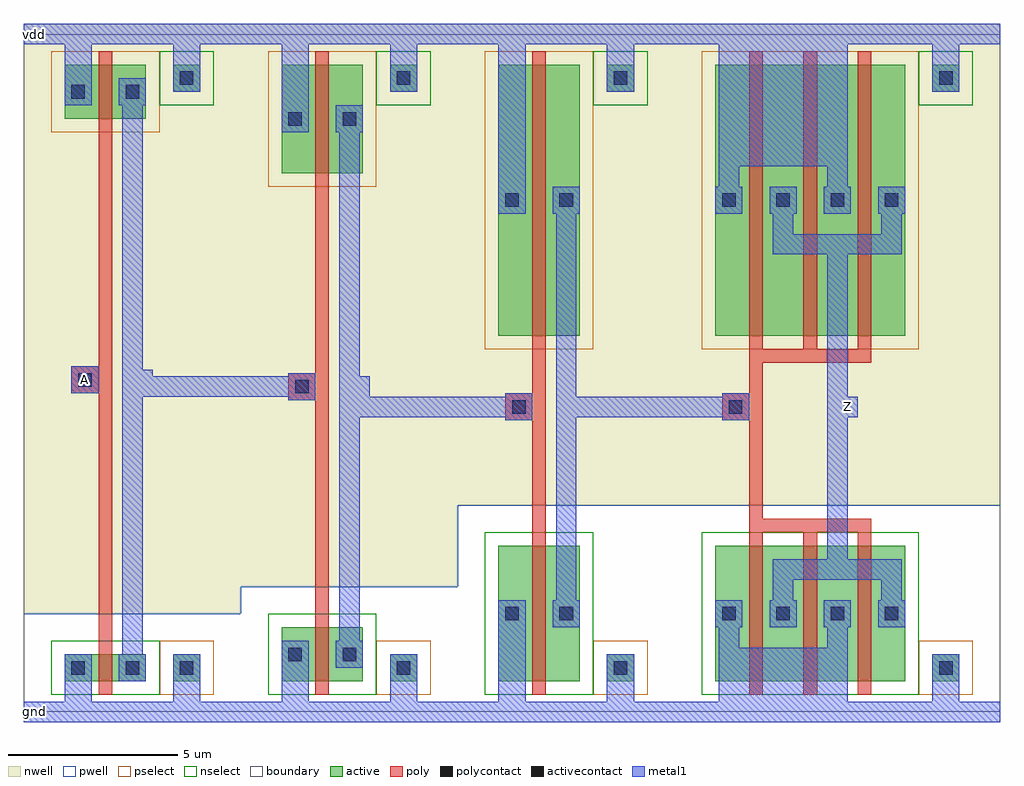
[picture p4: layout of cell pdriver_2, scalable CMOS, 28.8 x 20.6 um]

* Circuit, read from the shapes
.subckt pdriver_2 A Z gnd vdd
M1 pinv_3_1/A A gnd gnd nfet w=0.8u l=0.4u
M2 pinv_6_2/A pinv_3_1/A gnd gnd nfet w=1.6u l=0.4u
M3 pinv_7_3/A pinv_6_2/A gnd gnd nfet w=4u l=0.4u
M4 Z pinv_7_3/A gnd gnd nfet w=4u l=0.4u m=3
M5 pinv_3_1/A A vdd vdd pfet w=1.6u l=0.4u
M6 pinv_6_2/A pinv_3_1/A vdd vdd pfet w=3.2u l=0.4u
M7 pinv_7_3/A pinv_6_2/A vdd vdd pfet w=8u l=0.4u
M8 Z pinv_7_3/A vdd vdd pfet w=8u l=0.4u m=3
.ends

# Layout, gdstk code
import gdstk
lib = gdstk.Library(unit=1e-6, precision=1e-09)
def R(c, l, rs):  # rectangles x0, y0, x1, y1
    for r in rs: c.add(gdstk.rectangle(r[:2], r[2:], *l))
def A(c, l, x, y, w, h, nx, ny, dx, dy):  # array of equal rectangles
    R(c, l, [(x+i*dx, y+j*dy, x+i*dx+w, y+j*dy+h) for i in range(nx) for j in range(ny)])
pwell = (41, 0)
nwell = (42, 0)
active = (43, 0)
pselect = (44, 0)
nselect = (45, 0)
poly = (46, 0)
polycontact = (47, 0)
activecontact = (48, 0)
metal1 = (49, 0)
boundary = (63, 0)

contact_9 = lib.new_cell('contact_9')
R(contact_9, nwell, [(-1.2,-1.2,2,2)])
R(contact_9, active, [(0,0,0.8,0.8)])
R(contact_9, pselect, [(-0.4,-0.4,1.2,1.2)])
R(contact_9, activecontact, [(0.2,0.2,0.6,0.6)])
R(contact_9, metal1, [(0,0,0.8,0.8)])

pmos_m1_w1_600_a_p = lib.new_cell('pmos_m1_w1_600_a_p')
R(pmos_m1_w1_600_a_p, nwell, [(-1.2,-1.2,3.6,2.8)])
R(pmos_m1_w1_600_a_p, active, [(0,0,2.4,1.6)])
R(pmos_m1_w1_600_a_p, pselect, [(-0.4,-0.4,2.8,2)])
R(pmos_m1_w1_600_a_p, poly, [(1,-0.4,1.4,2), (1,-0.4,1.4,2)])
R(pmos_m1_w1_600_a_p, metal1, [(0,0.4,0.8,1.2), (1.6,0.4,2.4,1.2)])
pmos_m1_w1_600_a_p.add(gdstk.Reference(contact_9, (0,0.4)))
pmos_m1_w1_600_a_p.add(gdstk.Reference(contact_9, (1.6,0.4)))
pmos_m1_w1_600_a_p.add(gdstk.Label('G', (1.2,0.8), layer=46, texttype=0))
pmos_m1_w1_600_a_p.add(gdstk.Label('S', (0.4,0.8), layer=49, texttype=0))
pmos_m1_w1_600_a_p.add(gdstk.Label('D', (2,0.8), layer=49, texttype=0))

contact_14 = lib.new_cell('contact_14')
R(contact_14, pwell, [(-1.2,-1.2,2,2)])
R(contact_14, active, [(0,0,0.8,0.8)])
R(contact_14, nselect, [(-0.4,-0.4,1.2,1.2)])
R(contact_14, activecontact, [(0.2,0.2,0.6,0.6)])
R(contact_14, metal1, [(0,0,0.8,0.8)])

nmos_m1_w0_800_a_p = lib.new_cell('nmos_m1_w0_800_a_p')
R(nmos_m1_w0_800_a_p, pwell, [(-1.2,-1.2,3.6,2)])
R(nmos_m1_w0_800_a_p, active, [(0,0,2.4,0.8)])
R(nmos_m1_w0_800_a_p, nselect, [(-0.4,-0.4,2.8,1.2)])
R(nmos_m1_w0_800_a_p, poly, [(1,-0.4,1.4,1.2), (1,-0.4,1.4,1.2)])
R(nmos_m1_w0_800_a_p, metal1, [(0,0,0.8,0.8), (1.6,0,2.4,0.8)])
nmos_m1_w0_800_a_p.add(gdstk.Reference(contact_14, (0,0)))
nmos_m1_w0_800_a_p.add(gdstk.Reference(contact_14, (1.6,0)))
nmos_m1_w0_800_a_p.add(gdstk.Label('G', (1.2,0.4), layer=46, texttype=0))
nmos_m1_w0_800_a_p.add(gdstk.Label('S', (0.4,0.4), layer=49, texttype=0))
nmos_m1_w0_800_a_p.add(gdstk.Label('D', (2,0.4), layer=49, texttype=0))

contact_15 = lib.new_cell('contact_15')
R(contact_15, nwell, [(-1.2,-1.2,2,2)])
R(contact_15, active, [(0,0,0.8,0.8)])
R(contact_15, nselect, [(-0.4,-0.4,1.2,1.2)])
R(contact_15, activecontact, [(0.2,0.2,0.6,0.6)])
R(contact_15, metal1, [(0,0,0.8,0.8)])

contact_16 = lib.new_cell('contact_16')
R(contact_16, pwell, [(-1.2,-1.2,2,2)])
R(contact_16, active, [(0,0,0.8,0.8)])
R(contact_16, pselect, [(-0.4,-0.4,1.2,1.2)])
R(contact_16, activecontact, [(0.2,0.2,0.6,0.6)])
R(contact_16, metal1, [(0,0,0.8,0.8)])

contact_10 = lib.new_cell('contact_10')
R(contact_10, poly, [(0,0,0.8,0.8)])
R(contact_10, polycontact, [(0.2,0.2,0.6,0.6)])
R(contact_10, metal1, [(0,0,0.8,0.8)])

pinv_5 = lib.new_cell('pinv_5')
R(pinv_5, pwell, [(0,-0.3,6.4,2.9)])
R(pinv_5, nwell, [(0,2.9,6.4,20.3)])
R(pinv_5, poly, [(2.2,0.5,2.6,17.1), (1.8,9.4,2.2,10.2)])
R(pinv_5, metal1, [(0,-0.3,6.4,0.3), (1.2,-0.3,2,0.9), (4.4,0,5.2,1.3), (2.9,0.9,3.5,18.7), (1.4,9.4,2.2,10.2), (3.2,9.5,3.8,10.1), (1.2,17.9,2,20.3), (4.4,18.7,5.2,20), (0,19.7,6.4,20.3)])
R(pinv_5, boundary, [(0,0,6.4,20)])
pinv_5.add(gdstk.Reference(pmos_m1_w1_600_a_p, (1.2,17.5)))
pinv_5.add(gdstk.Reference(nmos_m1_w0_800_a_p, (1.2,0.9)))
pinv_5.add(gdstk.Reference(contact_15, (4.4,18.3)))
pinv_5.add(gdstk.Reference(contact_16, (4.4,0.9)))
pinv_5.add(gdstk.Reference(contact_10, (1.4,9.4)))
pinv_5.add(gdstk.Label('gnd', (3.2,0), layer=49, texttype=0))
pinv_5.add(gdstk.Label('vdd', (3.2,20), layer=49, texttype=0))
pinv_5.add(gdstk.Label('A', (1.8,9.8), layer=49, texttype=0))
pinv_5.add(gdstk.Label('Z', (3.5,9.8), layer=49, texttype=0))

pmos_m1_w3_200_a_p = lib.new_cell('pmos_m1_w3_200_a_p')
R(pmos_m1_w3_200_a_p, nwell, [(-1.2,-1.2,3.6,4.4)])
R(pmos_m1_w3_200_a_p, active, [(0,0,2.4,3.2)])
R(pmos_m1_w3_200_a_p, pselect, [(-0.4,-0.4,2.8,3.6)])
R(pmos_m1_w3_200_a_p, poly, [(1,-0.4,1.4,3.6), (1,-0.4,1.4,3.6)])
R(pmos_m1_w3_200_a_p, metal1, [(0,1.2,0.8,2), (1.6,1.2,2.4,2)])
pmos_m1_w3_200_a_p.add(gdstk.Reference(contact_9, (0,1.2)))
pmos_m1_w3_200_a_p.add(gdstk.Reference(contact_9, (1.6,1.2)))
pmos_m1_w3_200_a_p.add(gdstk.Label('G', (1.2,1.6), layer=46, texttype=0))
pmos_m1_w3_200_a_p.add(gdstk.Label('S', (0.4,1.6), layer=49, texttype=0))
pmos_m1_w3_200_a_p.add(gdstk.Label('D', (2,1.6), layer=49, texttype=0))

nmos_m1_w1_600_a_p = lib.new_cell('nmos_m1_w1_600_a_p')
R(nmos_m1_w1_600_a_p, pwell, [(-1.2,-1.2,3.6,2.8)])
R(nmos_m1_w1_600_a_p, active, [(0,0,2.4,1.6)])
R(nmos_m1_w1_600_a_p, nselect, [(-0.4,-0.4,2.8,2)])
R(nmos_m1_w1_600_a_p, poly, [(1,-0.4,1.4,2), (1,-0.4,1.4,2)])
R(nmos_m1_w1_600_a_p, metal1, [(0,0.4,0.8,1.2), (1.6,0.4,2.4,1.2)])
nmos_m1_w1_600_a_p.add(gdstk.Reference(contact_14, (0,0.4)))
nmos_m1_w1_600_a_p.add(gdstk.Reference(contact_14, (1.6,0.4)))
nmos_m1_w1_600_a_p.add(gdstk.Label('G', (1.2,0.8), layer=46, texttype=0))
nmos_m1_w1_600_a_p.add(gdstk.Label('S', (0.4,0.8), layer=49, texttype=0))
nmos_m1_w1_600_a_p.add(gdstk.Label('D', (2,0.8), layer=49, texttype=0))

pinv_3 = lib.new_cell('pinv_3')
R(pinv_3, pwell, [(0,-0.3,6.4,3.7)])
R(pinv_3, nwell, [(0,3.7,6.4,20.3)])
R(pinv_3, poly, [(2.2,0.5,2.6,15.5), (1.8,9.2,2.2,10)])
R(pinv_3, metal1, [(0,-0.3,6.4,0.3), (1.2,-0.3,2,1.3), (4.4,0,5.2,1.3), (2.9,1.3,3.5,17.9), (1.4,9.2,2.2,10), (3.2,9.3,3.8,9.9), (1.2,17.1,2,20.3), (4.4,18.7,5.2,20), (0,19.7,6.4,20.3)])
R(pinv_3, boundary, [(0,0,6.4,20)])
pinv_3.add(gdstk.Reference(pmos_m1_w3_200_a_p, (1.2,15.9)))
pinv_3.add(gdstk.Reference(nmos_m1_w1_600_a_p, (1.2,0.9)))
pinv_3.add(gdstk.Reference(contact_15, (4.4,18.3)))
pinv_3.add(gdstk.Reference(contact_16, (4.4,0.9)))
pinv_3.add(gdstk.Reference(contact_10, (1.4,9.2)))
pinv_3.add(gdstk.Label('gnd', (3.2,0), layer=49, texttype=0))
pinv_3.add(gdstk.Label('vdd', (3.2,20), layer=49, texttype=0))
pinv_3.add(gdstk.Label('A', (1.8,9.6), layer=49, texttype=0))
pinv_3.add(gdstk.Label('Z', (3.5,9.6), layer=49, texttype=0))

pmos_m1_w8_000_a_p = lib.new_cell('pmos_m1_w8_000_a_p')
R(pmos_m1_w8_000_a_p, nwell, [(-1.2,-1.2,3.6,9.2)])
R(pmos_m1_w8_000_a_p, active, [(0,0,2.4,8)])
R(pmos_m1_w8_000_a_p, pselect, [(-0.4,-0.4,2.8,8.4)])
R(pmos_m1_w8_000_a_p, poly, [(1,-0.4,1.4,8.4), (1,-0.4,1.4,8.4)])
R(pmos_m1_w8_000_a_p, metal1, [(0,3.6,0.8,4.4), (1.6,3.6,2.4,4.4)])
pmos_m1_w8_000_a_p.add(gdstk.Reference(contact_9, (0,3.6)))
pmos_m1_w8_000_a_p.add(gdstk.Reference(contact_9, (1.6,3.6)))
pmos_m1_w8_000_a_p.add(gdstk.Label('G', (1.2,4), layer=46, texttype=0))
pmos_m1_w8_000_a_p.add(gdstk.Label('S', (0.4,4), layer=49, texttype=0))
pmos_m1_w8_000_a_p.add(gdstk.Label('D', (2,4), layer=49, texttype=0))

nmos_m1_w4_000_a_p = lib.new_cell('nmos_m1_w4_000_a_p')
R(nmos_m1_w4_000_a_p, pwell, [(-1.2,-1.2,3.6,5.2)])
R(nmos_m1_w4_000_a_p, active, [(0,0,2.4,4)])
R(nmos_m1_w4_000_a_p, nselect, [(-0.4,-0.4,2.8,4.4)])
R(nmos_m1_w4_000_a_p, poly, [(1,-0.4,1.4,4.4), (1,-0.4,1.4,4.4)])
R(nmos_m1_w4_000_a_p, metal1, [(0,1.6,0.8,2.4), (1.6,1.6,2.4,2.4)])
nmos_m1_w4_000_a_p.add(gdstk.Reference(contact_14, (0,1.6)))
nmos_m1_w4_000_a_p.add(gdstk.Reference(contact_14, (1.6,1.6)))
nmos_m1_w4_000_a_p.add(gdstk.Label('G', (1.2,2), layer=46, texttype=0))
nmos_m1_w4_000_a_p.add(gdstk.Label('S', (0.4,2), layer=49, texttype=0))
nmos_m1_w4_000_a_p.add(gdstk.Label('D', (2,2), layer=49, texttype=0))

pinv_6 = lib.new_cell('pinv_6')
R(pinv_6, pwell, [(0,-0.3,6.4,6.1)])
R(pinv_6, nwell, [(0,6.1,6.4,20.3)])
R(pinv_6, poly, [(2.2,0.5,2.6,10.7), (1.8,8.6,2.2,9.4)])
R(pinv_6, metal1, [(0,-0.3,6.4,0.3), (1.2,-0.3,2,2.5), (4.4,0,5.2,1.3), (2.9,2.5,3.5,15.5), (1.4,8.6,2.2,9.4), (3.2,8.7,3.8,9.3), (1.2,14.7,2,20.3), (4.4,18.7,5.2,20), (0,19.7,6.4,20.3)])
R(pinv_6, boundary, [(0,0,6.4,20)])
pinv_6.add(gdstk.Reference(pmos_m1_w8_000_a_p, (1.2,11.1)))
pinv_6.add(gdstk.Reference(nmos_m1_w4_000_a_p, (1.2,0.9)))
pinv_6.add(gdstk.Reference(contact_15, (4.4,18.3)))
pinv_6.add(gdstk.Reference(contact_16, (4.4,0.9)))
pinv_6.add(gdstk.Reference(contact_10, (1.4,8.6)))
pinv_6.add(gdstk.Label('gnd', (3.2,0), layer=49, texttype=0))
pinv_6.add(gdstk.Label('vdd', (3.2,20), layer=49, texttype=0))
pinv_6.add(gdstk.Label('A', (1.8,9), layer=49, texttype=0))
pinv_6.add(gdstk.Label('Z', (3.5,9), layer=49, texttype=0))

pmos_m3_w8_000_a_p = lib.new_cell('pmos_m3_w8_000_a_p')
R(pmos_m3_w8_000_a_p, nwell, [(-1.2,-1.2,6.8,9.2)])
R(pmos_m3_w8_000_a_p, active, [(0,0,5.6,8)])
R(pmos_m3_w8_000_a_p, pselect, [(-0.4,-0.4,6,8.4)])
A(pmos_m3_w8_000_a_p, poly, 1, -0.4, 0.4, 8.8, 3, 1, 1.6, 0)
R(pmos_m3_w8_000_a_p, poly, [(1,-0.8,4.6,-0.4)])
R(pmos_m3_w8_000_a_p, metal1, [(1.7,2.4,5.5,3), (1.7,2.7,2.3,4), (4.9,2.7,5.5,4), (0.1,4,0.7,5.3), (3.3,4,3.9,5.3), (0.1,5,3.9,5.6)])
pmos_m3_w8_000_a_p.add(gdstk.Reference(contact_9, (0,3.6)))
pmos_m3_w8_000_a_p.add(gdstk.Reference(contact_9, (3.2,3.6)))
pmos_m3_w8_000_a_p.add(gdstk.Reference(contact_9, (1.6,3.6)))
pmos_m3_w8_000_a_p.add(gdstk.Reference(contact_9, (4.8,3.6)))
pmos_m3_w8_000_a_p.add(gdstk.Label('G', (2.8,-0.6), layer=46, texttype=0))
pmos_m3_w8_000_a_p.add(gdstk.Label('S', (2,5.3), layer=49, texttype=0))
pmos_m3_w8_000_a_p.add(gdstk.Label('D', (3.6,2.7), layer=49, texttype=0))

nmos_m3_w4_000_a_p = lib.new_cell('nmos_m3_w4_000_a_p')
R(nmos_m3_w4_000_a_p, pwell, [(-1.2,-1.2,6.8,5.2)])
R(nmos_m3_w4_000_a_p, active, [(0,0,5.6,4)])
R(nmos_m3_w4_000_a_p, nselect, [(-0.4,-0.4,6,4.4)])
A(nmos_m3_w4_000_a_p, poly, 1, -0.4, 0.4, 4.8, 3, 1, 1.6, 0)
R(nmos_m3_w4_000_a_p, poly, [(1,4.4,4.6,4.8)])
R(nmos_m3_w4_000_a_p, metal1, [(0.1,0.4,3.9,1), (0.1,0.7,0.7,2), (3.3,0.7,3.9,2), (1.7,2,2.3,3.3), (4.9,2,5.5,3.3), (1.7,3,5.5,3.6)])
nmos_m3_w4_000_a_p.add(gdstk.Reference(contact_14, (0,1.6)))
nmos_m3_w4_000_a_p.add(gdstk.Reference(contact_14, (3.2,1.6)))
nmos_m3_w4_000_a_p.add(gdstk.Reference(contact_14, (1.6,1.6)))
nmos_m3_w4_000_a_p.add(gdstk.Reference(contact_14, (4.8,1.6)))
nmos_m3_w4_000_a_p.add(gdstk.Label('G', (2.8,4.6), layer=46, texttype=0))
nmos_m3_w4_000_a_p.add(gdstk.Label('S', (2,0.7), layer=49, texttype=0))
nmos_m3_w4_000_a_p.add(gdstk.Label('D', (3.6,3.3), layer=49, texttype=0))

pinv_7 = lib.new_cell('pinv_7')
R(pinv_7, pwell, [(0,-0.3,9.6,6.1)])
R(pinv_7, nwell, [(0,6.1,9.6,20.3)])
R(pinv_7, poly, [(2.2,5.3,2.6,10.3), (1.8,8.6,2.2,9.4)])
R(pinv_7, metal1, [(0,-0.3,9.6,0.3), (1.3,-0.3,5.1,1.3), (7.6,0,8.4,1.3), (4.5,3.9,5.1,14.1), (1.4,8.6,2.2,9.4), (4.8,8.7,5.4,9.3), (1.3,16.1,5.1,20.3), (7.6,18.7,8.4,20), (0,19.7,9.6,20.3)])
R(pinv_7, boundary, [(0,0,9.6,20)])
pinv_7.add(gdstk.Reference(pmos_m3_w8_000_a_p, (1.2,11.1)))
pinv_7.add(gdstk.Reference(nmos_m3_w4_000_a_p, (1.2,0.9)))
pinv_7.add(gdstk.Reference(contact_15, (7.6,18.3)))
pinv_7.add(gdstk.Reference(contact_16, (7.6,0.9)))
pinv_7.add(gdstk.Reference(contact_10, (1.4,8.6)))
pinv_7.add(gdstk.Label('gnd', (4.8,0), layer=49, texttype=0))
pinv_7.add(gdstk.Label('vdd', (4.8,20), layer=49, texttype=0))
pinv_7.add(gdstk.Label('A', (1.8,9), layer=49, texttype=0))
pinv_7.add(gdstk.Label('Z', (5.1,9), layer=49, texttype=0))

pdriver_2 = lib.new_cell('pdriver_2')
R(pdriver_2, metal1, [(0,-0.3,0.6,0.3), (9.6,8.7,10.2,9.3), (9.9,8.7,14.6,9.3), (16.3,8.7,21,9.3), (24,8.7,24.6,9.3), (9.6,9,10.2,9.6), (3.2,9.3,3.8,9.9), (3.5,9.3,8.2,9.9), (1.4,9.4,2.2,10.2), (3.2,9.6,3.8,9.8), (0,19.7,0.6,20.3)])
R(pdriver_2, boundary, [(0,0,28.8,20)])
pdriver_2.add(gdstk.Reference(pinv_5, (0,0)))
pdriver_2.add(gdstk.Reference(pinv_3, (6.4,0)))
pdriver_2.add(gdstk.Reference(pinv_6, (12.8,0)))
pdriver_2.add(gdstk.Reference(pinv_7, (19.2,0)))
pdriver_2.add(gdstk.Label('vdd', (0.3,20), layer=49, texttype=0))
pdriver_2.add(gdstk.Label('gnd', (0.3,0), layer=49, texttype=0))
pdriver_2.add(gdstk.Label('Z', (24.3,9), layer=49, texttype=0))
pdriver_2.add(gdstk.Label('A', (1.8,9.8), layer=49, texttype=0))

lib.write_gds('pdriver_2.gds')
